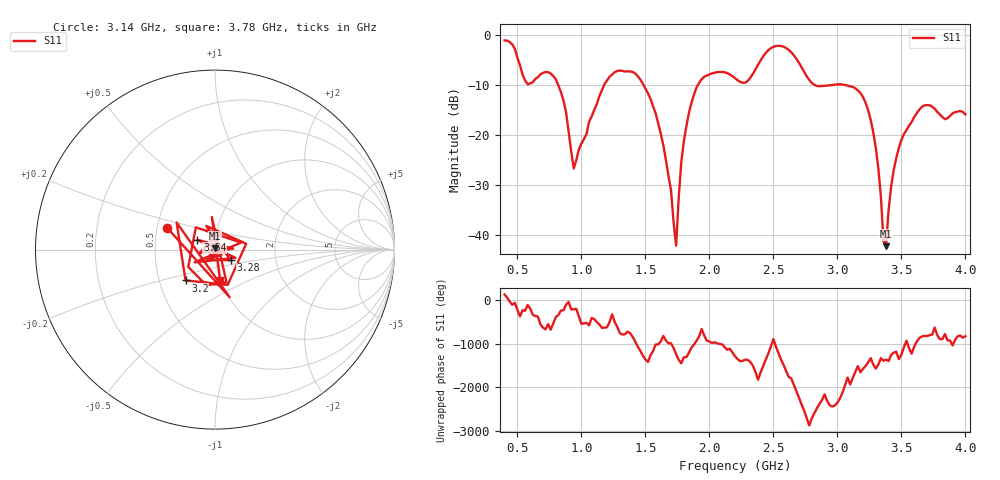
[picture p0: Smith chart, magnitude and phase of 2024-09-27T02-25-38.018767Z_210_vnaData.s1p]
!Created with skrf (http://scikit-rf.org).
# Hz S RI R 50.0
!freq ReS11 ImS11
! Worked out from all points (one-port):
!   181 points, 400 MHz to 4 GHz, reference 50 ohm
!   lowest |S11| = -42.3 dB at 3.38 GHz (marker M1), VSWR 1.02, Z = 50.1 + j0.757 ohm
!   |S11| at or under -10 dB: 817.6 MHz to 1.178 GHz (360.7 MHz wide, 36.1 % of centre); 1.484 GHz to 1.911 GHz (427.2 MHz wide, 25.2 % of centre); 3.044 GHz to end of sweep (the widest 3 of 4)
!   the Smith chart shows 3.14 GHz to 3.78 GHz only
!   S11 on the Smith chart (normalised r, x): 3.14 GHz: 0.57, +0.15; 3.2 GHz: 0.68, -0.25; 3.28 GHz: 1.18, -0.14; 3.54 GHz: 0.82, +0.09; 3.78 GHz: 1.00, -0.34
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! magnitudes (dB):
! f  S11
! 400 MHz  -1.2
! 580 MHz  -9.9
! 740 MHz  -7.5
! 860 MHz  -13.2
! 940 MHz  -26.8
! 1.18 GHz  -9.9
! 1.3 GHz  -7.2
! 1.58 GHz  -15.7
! 1.7 GHz  -31.1
! 1.74 GHz  -42.2
! 1.76 GHz  -32.7
! 1.8 GHz  -21.4
! 1.9 GHz  -10.5
! 2.2 GHz  -8.7
! 2.66 GHz  -4.1
! 2.82 GHz  -10.0
! 3.1 GHz  -10.3
! 3.14 GHz  -10.7
! 3.2 GHz  -12.5
! 3.28 GHz  -19.5
! 3.32 GHz  -26.8
! 3.36 GHz  -41.3
! 3.38 GHz  -42.3
! 3.44 GHz  -27.1
! 3.54 GHz  -19.0
! 3.56 GHz  -18.2
! 3.78 GHz  -15.4
! 4 GHz  -15.9
